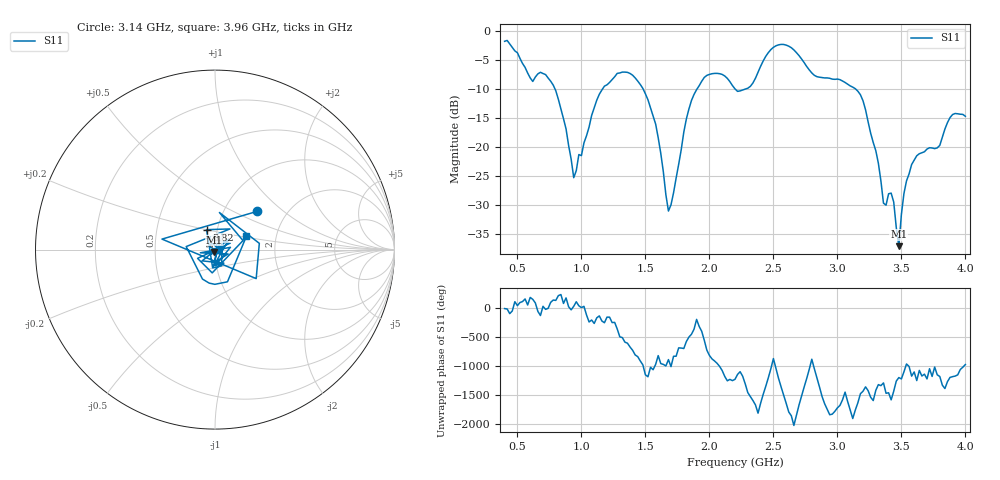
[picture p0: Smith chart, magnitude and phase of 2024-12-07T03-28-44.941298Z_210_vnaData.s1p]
!Created with skrf (http://scikit-rf.org).
# Hz S RI R 50.0
!freq ReS11 ImS11
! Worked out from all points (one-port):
!   181 points, 400 MHz to 4 GHz, reference 50 ohm
!   lowest |S11| = -37.2 dB at 3.48 GHz (marker M1), VSWR 1.03, Z = 49.4 - j1.23 ohm
!   |S11| at or under -10 dB: 792.9 MHz to 1.166 GHz (373.4 MHz wide, 38.1 % of centre); 1.481 GHz to 1.905 GHz (423.1 MHz wide, 25 % of centre); 3.141 GHz to end of sweep (the widest 3 of 4)
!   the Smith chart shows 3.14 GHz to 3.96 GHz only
!   S11 on the Smith chart (normalised r, x): 3.14 GHz: 1.42, +0.67; 3.82 GHz: 0.89, +0.20; 3.96 GHz: 1.41, +0.22
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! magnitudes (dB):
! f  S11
! 400 MHz  -1.8
! 620 MHz  -8.7
! 760 MHz  -8.7
! 860 MHz  -15.2
! 940 MHz  -25.3
! 1.14 GHz  -10.9
! 1.3 GHz  -7.3
! 1.52 GHz  -11.9
! 1.6 GHz  -18.5
! 1.68 GHz  -31.1
! 1.76 GHz  -23.0
! 1.84 GHz  -13.5
! 1.96 GHz  -8.0
! 2.2 GHz  -10.0
! 2.32 GHz  -9.6
! 2.5 GHz  -2.8
! 2.66 GHz  -3.3
! 3.1 GHz  -9.5
! 3.14 GHz  -10.0
! 3.3 GHz  -20.7
! 3.36 GHz  -29.7
! 3.44 GHz  -29.5
! 3.48 GHz  -37.2
! 3.52 GHz  -28.1
! 3.56 GHz  -24.7
! 3.82 GHz  -18.4
! 3.96 GHz  -14.4
! 4 GHz  -14.7
